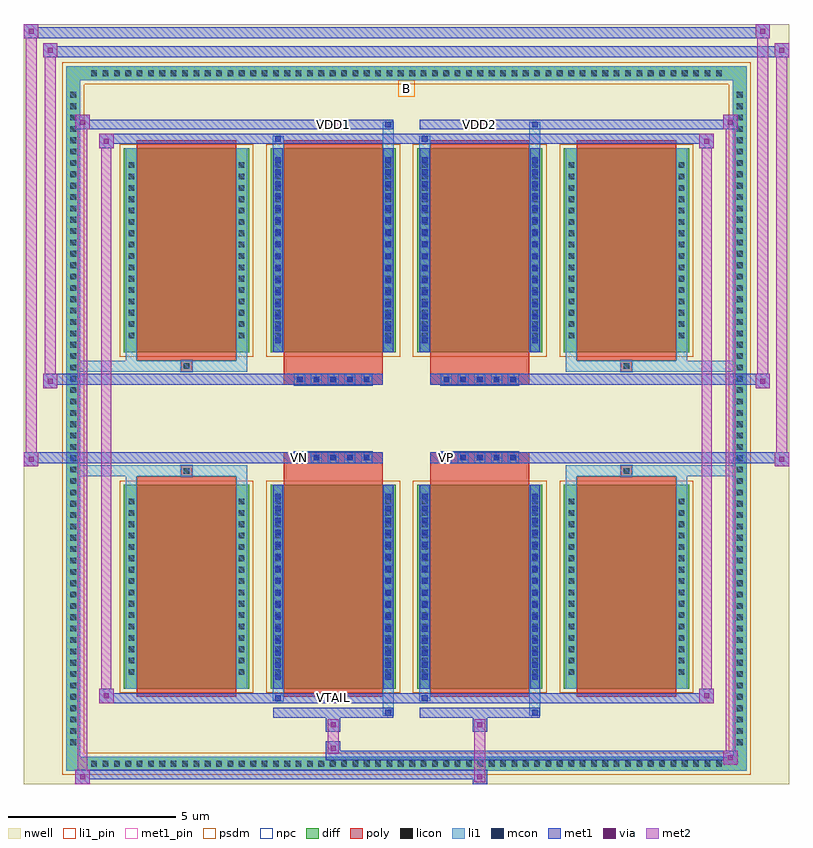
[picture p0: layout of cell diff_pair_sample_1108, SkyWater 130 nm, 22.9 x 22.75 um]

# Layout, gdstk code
import gdstk
lib = gdstk.Library(unit=1e-6, precision=5e-09)
def R(c, l, rs):  # rectangles x0, y0, x1, y1
    for r in rs: c.add(gdstk.rectangle(r[:2], r[2:], *l))
def A(c, l, x, y, w, h, nx, ny, dx, dy):  # array of equal rectangles
    R(c, l, [(x+i*dx, y+j*dy, x+i*dx+w, y+j*dy+h) for i in range(nx) for j in range(ny)])
def P(c, l, *ps):  # polygons
    for p in ps: c.add(gdstk.Polygon(p, *l))
nwell = (64, 20)
diff = (65, 20)
poly = (66, 20)
licon = (66, 44)
li1_pin = (67, 16)
li1 = (67, 20)
mcon = (67, 44)
met1_pin = (68, 16)
met1 = (68, 20)
via = (68, 44)
met2 = (69, 20)
psdm = (94, 20)
npc = (95, 20)

diff_pair_sample_1108 = lib.new_cell('diff_pair_sample_1108')
R(diff_pair_sample_1108, nwell, [(-11.45,-10.94,11.45,11.81), (-8.77,-9.13,-0.01,-0.805), (0.01,-9.13,8.77,-0.805), (-8.77,0.805,-0.01,9.13), (0.01,0.805,8.77,9.13)])
A(diff_pair_sample_1108, diff, -9.555, -10.54, 0.41, 0.41, 56, 2, 0.34, 20.67)
A(diff_pair_sample_1108, diff, -10.18, -9.895, 0.41, 0.41, 1, 58, 0, 0.34)
A(diff_pair_sample_1108, diff, 9.77, -9.895, 0.41, 0.41, 1, 58, 0, 0.34)
A(diff_pair_sample_1108, diff, -8.46, -8.085, 3.75, 6.1, 4, 2, 4.39, 10.07)
R(diff_pair_sample_1108, diff, [(-9.555,-10.54,9.555,-10.13), (-10.18,-9.895,-9.77,9.895), (9.77,-9.895,10.18,9.895), (-9.555,10.13,9.555,10.54)])
P(diff_pair_sample_1108, diff, [(10.18,10.54),(-10.18,10.54),(-10.18,-10.13),(-9.77,-10.13),(-9.77,10.13),(9.77,10.13),(9.77,-10.13),(-9.77,-10.13),(-10.18,-10.13),(-10.18,-10.54),(10.18,-10.54)])
A(diff_pair_sample_1108, poly, -8.07, -8.335, 2.97, 6.6, 4, 2, 4.39, 10.07)
A(diff_pair_sample_1108, poly, -3.36, -1.335, 0.33, 0.33, 5, 2, 0.5, 2.34)
A(diff_pair_sample_1108, poly, 1.03, -1.335, 0.33, 0.33, 5, 2, 0.5, 2.34)
R(diff_pair_sample_1108, poly, [(-6.75,-1.735,-6.42,-1.405), (-6.75,-1.735,-6.42,-1.405), (-3.68,-1.735,-0.71,-1.335), (0.71,-1.735,3.68,-1.335), (6.42,-1.735,6.75,-1.405), (6.42,-1.735,6.75,-1.405), (-3.68,-1.335,-0.71,-1.005), (0.71,-1.335,3.68,-1.005), (-3.68,1.005,-0.71,1.335), (0.71,1.005,3.68,1.335), (-3.68,1.335,-0.71,1.735), (0.71,1.335,3.68,1.735), (-6.75,1.405,-6.42,1.735), (-6.75,1.405,-6.42,1.735), (6.42,1.405,6.75,1.735), (6.42,1.405,6.75,1.735)])
A(diff_pair_sample_1108, licon, -9.435, -10.42, 0.17, 0.17, 56, 2, 0.34, 20.67)
A(diff_pair_sample_1108, licon, -10.06, -9.775, 0.17, 0.17, 1, 58, 0, 0.34)
A(diff_pair_sample_1108, licon, 9.89, -9.775, 0.17, 0.17, 1, 58, 0, 0.34)
A(diff_pair_sample_1108, licon, -8.32, -7.67, 0.17, 0.17, 1, 16, 0, 0.34)
A(diff_pair_sample_1108, licon, -5.02, -7.67, 0.17, 0.17, 1, 16, 0, 0.34)
A(diff_pair_sample_1108, licon, -3.93, -7.67, 0.17, 0.17, 1, 16, 0, 0.34)
A(diff_pair_sample_1108, licon, -0.63, -7.67, 0.17, 0.17, 1, 16, 0, 0.34)
A(diff_pair_sample_1108, licon, 0.46, -7.67, 0.17, 0.17, 1, 16, 0, 0.34)
A(diff_pair_sample_1108, licon, 3.76, -7.67, 0.17, 0.17, 1, 16, 0, 0.34)
A(diff_pair_sample_1108, licon, 4.85, -7.67, 0.17, 0.17, 1, 16, 0, 0.34)
A(diff_pair_sample_1108, licon, 8.15, -7.67, 0.17, 0.17, 1, 16, 0, 0.34)
A(diff_pair_sample_1108, licon, -3.28, -1.255, 0.17, 0.17, 5, 2, 0.5, 2.34)
A(diff_pair_sample_1108, licon, 1.11, -1.255, 0.17, 0.17, 5, 2, 0.5, 2.34)
A(diff_pair_sample_1108, licon, -8.32, 2.4, 0.17, 0.17, 1, 16, 0, 0.34)
A(diff_pair_sample_1108, licon, -5.02, 2.4, 0.17, 0.17, 1, 16, 0, 0.34)
A(diff_pair_sample_1108, licon, -3.93, 2.4, 0.17, 0.17, 1, 16, 0, 0.34)
A(diff_pair_sample_1108, licon, -0.63, 2.4, 0.17, 0.17, 1, 16, 0, 0.34)
A(diff_pair_sample_1108, licon, 0.46, 2.4, 0.17, 0.17, 1, 16, 0, 0.34)
A(diff_pair_sample_1108, licon, 3.76, 2.4, 0.17, 0.17, 1, 16, 0, 0.34)
A(diff_pair_sample_1108, licon, 4.85, 2.4, 0.17, 0.17, 1, 16, 0, 0.34)
A(diff_pair_sample_1108, licon, 8.15, 2.4, 0.17, 0.17, 1, 16, 0, 0.34)
R(diff_pair_sample_1108, licon, [(-6.67,-1.655,-6.5,-1.485), (6.5,-1.655,6.67,-1.485), (-6.67,1.485,-6.5,1.655), (6.5,1.485,6.67,1.655)])
R(diff_pair_sample_1108, li1_pin, [(-0.25,9.63,0.25,10.13)])
A(diff_pair_sample_1108, li1, -9.515, -10.5, 0.33, 0.33, 56, 2, 0.34, 20.67)
A(diff_pair_sample_1108, li1, -10.14, -9.855, 0.33, 0.33, 1, 58, 0, 0.34)
A(diff_pair_sample_1108, li1, 9.81, -9.855, 0.33, 0.33, 1, 58, 0, 0.34)
A(diff_pair_sample_1108, li1, -3.93, -7.82, 0.17, 0.17, 1, 16, 0, 0.36)
A(diff_pair_sample_1108, li1, -0.63, -7.82, 0.17, 0.17, 1, 16, 0, 0.36)
A(diff_pair_sample_1108, li1, 0.46, -7.82, 0.17, 0.17, 1, 16, 0, 0.36)
A(diff_pair_sample_1108, li1, 3.76, -7.82, 0.17, 0.17, 1, 16, 0, 0.36)
A(diff_pair_sample_1108, li1, -8.4, -7.75, 0.33, 0.33, 1, 16, 0, 0.34)
A(diff_pair_sample_1108, li1, -5.1, -7.75, 0.33, 0.33, 1, 16, 0, 0.34)
A(diff_pair_sample_1108, li1, -4.01, -7.75, 0.33, 0.33, 1, 16, 0, 0.34)
A(diff_pair_sample_1108, li1, -0.71, -7.75, 0.33, 0.33, 1, 16, 0, 0.34)
A(diff_pair_sample_1108, li1, 0.38, -7.75, 0.33, 0.33, 1, 16, 0, 0.34)
A(diff_pair_sample_1108, li1, 3.68, -7.75, 0.33, 0.33, 1, 16, 0, 0.34)
A(diff_pair_sample_1108, li1, 4.77, -7.75, 0.33, 0.33, 1, 16, 0, 0.34)
A(diff_pair_sample_1108, li1, 8.07, -7.75, 0.33, 0.33, 1, 16, 0, 0.34)
A(diff_pair_sample_1108, li1, -3.36, -1.335, 0.33, 0.33, 5, 2, 0.5, 2.34)
A(diff_pair_sample_1108, li1, 1.03, -1.335, 0.33, 0.33, 5, 2, 0.5, 2.34)
A(diff_pair_sample_1108, li1, -3.93, 2.25, 0.17, 0.17, 1, 16, 0, 0.36)
A(diff_pair_sample_1108, li1, -0.63, 2.25, 0.17, 0.17, 1, 16, 0, 0.36)
A(diff_pair_sample_1108, li1, 0.46, 2.25, 0.17, 0.17, 1, 16, 0, 0.36)
A(diff_pair_sample_1108, li1, 3.76, 2.25, 0.17, 0.17, 1, 16, 0, 0.36)
A(diff_pair_sample_1108, li1, -8.4, 2.32, 0.33, 0.33, 1, 16, 0, 0.34)
A(diff_pair_sample_1108, li1, -5.1, 2.32, 0.33, 0.33, 1, 16, 0, 0.34)
A(diff_pair_sample_1108, li1, -4.01, 2.32, 0.33, 0.33, 1, 16, 0, 0.34)
A(diff_pair_sample_1108, li1, -0.71, 2.32, 0.33, 0.33, 1, 16, 0, 0.34)
A(diff_pair_sample_1108, li1, 0.38, 2.32, 0.33, 0.33, 1, 16, 0, 0.34)
A(diff_pair_sample_1108, li1, 3.68, 2.32, 0.33, 0.33, 1, 16, 0, 0.34)
A(diff_pair_sample_1108, li1, 4.77, 2.32, 0.33, 0.33, 1, 16, 0, 0.34)
A(diff_pair_sample_1108, li1, 8.07, 2.32, 0.33, 0.33, 1, 16, 0, 0.34)
R(diff_pair_sample_1108, li1, [(-10.18,-10.54,-9.77,-10.13), (-10.18,-10.54,-9.77,-10.13), (-9.77,-10.54,9.77,-10.13), (9.77,-10.54,10.18,-10.13), (9.77,-10.54,10.18,-10.13), (-10.18,-10.13,-9.77,10.13), (9.77,-10.13,10.18,10.13), (-0.71,-8.89,-0.38,-8.085), (-0.63,-8.89,-0.46,-8.72), (3.68,-8.89,4.01,-8.085), (3.76,-8.89,3.93,-8.72), (-4.01,-8.46,-3.68,-8.085), (-3.93,-8.46,-3.76,-8.29), (0.38,-8.46,0.71,-8.085), (0.46,-8.46,0.63,-8.29), (-8.4,-8.085,-8.07,-1.985), (-5.1,-8.085,-4.77,-1.985), (-4.01,-8.085,-3.68,-1.985), (-0.71,-8.085,-0.38,-1.985), (0.38,-8.085,0.71,-1.985), (3.68,-8.085,4.01,-1.985), (4.77,-8.085,5.1,-1.985), (8.07,-8.085,8.4,-1.985), (-3.93,-7.82,-3.76,-2.25), (-0.63,-7.82,-0.46,-2.25), (0.46,-7.82,0.63,-2.25), (3.76,-7.82,3.93,-2.25), (-8.4,-1.985,-8.07,-1.405), (-5.1,-1.985,-4.77,-1.405), (4.77,-1.985,5.1,-1.405), (8.07,-1.985,8.4,-1.405), (-10.18,-1.735,-6.75,-1.405), (-8.4,-1.735,-6.75,-1.405), (-6.75,-1.735,-6.42,-1.405), (-6.42,-1.735,-4.77,-1.405), (4.77,-1.735,6.42,-1.405), (6.42,-1.735,6.75,-1.405), (6.42,-1.735,10.18,-1.405), (6.75,-1.735,8.4,-1.405), (-10.18,1.405,-6.75,1.735), (-8.4,1.405,-6.75,1.735), (-8.4,1.405,-8.07,1.985), (-6.75,1.405,-6.42,1.735), (-6.42,1.405,-4.77,1.735), (-5.1,1.405,-4.77,1.985), (4.77,1.405,6.42,1.735), (4.77,1.405,5.1,1.985), (6.42,1.405,6.75,1.735), (6.42,1.405,10.18,1.735), (6.75,1.405,8.4,1.735), (8.07,1.405,8.4,1.985), (-8.4,1.985,-8.07,8.085), (-5.1,1.985,-4.77,8.085), (-4.01,1.985,-3.68,8.085), (-0.71,1.985,-0.38,8.085), (0.38,1.985,0.71,8.085), (3.68,1.985,4.01,8.085), (4.77,1.985,5.1,8.085), (8.07,1.985,8.4,8.085), (-3.93,2.25,-3.76,7.82), (-0.63,2.25,-0.46,7.82), (0.46,2.25,0.63,7.82), (3.76,2.25,3.93,7.82), (-4.01,8.085,-3.68,8.46), (-0.71,8.085,-0.38,8.89), (0.38,8.085,0.71,8.46), (3.68,8.085,4.01,8.89), (-3.93,8.29,-3.76,8.46), (0.46,8.29,0.63,8.46), (-0.63,8.72,-0.46,8.89), (3.76,8.72,3.93,8.89), (-10.18,10.13,-9.77,10.54), (-10.18,10.13,-9.77,10.54), (-9.77,10.13,9.77,10.54), (9.77,10.13,10.18,10.54), (9.77,10.13,10.18,10.54)])
A(diff_pair_sample_1108, mcon, -3.93, -7.82, 0.17, 0.17, 1, 16, 0, 0.36)
A(diff_pair_sample_1108, mcon, -0.63, -7.82, 0.17, 0.17, 1, 16, 0, 0.36)
A(diff_pair_sample_1108, mcon, 0.46, -7.82, 0.17, 0.17, 1, 16, 0, 0.36)
A(diff_pair_sample_1108, mcon, 3.76, -7.82, 0.17, 0.17, 1, 16, 0, 0.36)
A(diff_pair_sample_1108, mcon, -3.28, -1.255, 0.17, 0.17, 5, 2, 0.5, 2.34)
A(diff_pair_sample_1108, mcon, 1.11, -1.255, 0.17, 0.17, 5, 2, 0.5, 2.34)
A(diff_pair_sample_1108, mcon, -3.93, 2.25, 0.17, 0.17, 1, 16, 0, 0.36)
A(diff_pair_sample_1108, mcon, -0.63, 2.25, 0.17, 0.17, 1, 16, 0, 0.36)
A(diff_pair_sample_1108, mcon, 0.46, 2.25, 0.17, 0.17, 1, 16, 0, 0.36)
A(diff_pair_sample_1108, mcon, 3.76, 2.25, 0.17, 0.17, 1, 16, 0, 0.36)
R(diff_pair_sample_1108, mcon, [(-0.63,-8.89,-0.46,-8.72), (3.76,-8.89,3.93,-8.72), (-3.93,-8.46,-3.76,-8.29), (0.46,-8.46,0.63,-8.29), (-3.93,8.29,-3.76,8.46), (0.46,8.29,0.63,8.46), (-0.63,8.72,-0.46,8.89), (3.76,8.72,3.93,8.89)])
R(diff_pair_sample_1108, met1_pin, [(-2.33,-8.5,-2.06,-8.23), (-3.33,-1.295,-3.06,-1.025), (1.06,-1.295,1.33,-1.025), (-2.33,8.68,-2.06,8.95), (2.06,8.68,2.33,8.95)])
A(diff_pair_sample_1108, met1, -3.99, -7.88, 0.29, 0.29, 1, 16, 0, 0.36)
A(diff_pair_sample_1108, met1, -0.69, -7.88, 0.29, 0.29, 1, 16, 0, 0.36)
A(diff_pair_sample_1108, met1, 0.4, -7.88, 0.29, 0.29, 1, 16, 0, 0.36)
A(diff_pair_sample_1108, met1, 3.7, -7.88, 0.29, 0.29, 1, 16, 0, 0.36)
A(diff_pair_sample_1108, met1, -3.34, -1.315, 0.29, 0.29, 5, 2, 0.5, 2.34)
A(diff_pair_sample_1108, met1, 1.05, -1.315, 0.29, 0.29, 5, 2, 0.5, 2.34)
A(diff_pair_sample_1108, met1, -3.99, 2.19, 0.29, 0.29, 1, 16, 0, 0.36)
A(diff_pair_sample_1108, met1, -0.69, 2.19, 0.29, 0.29, 1, 16, 0, 0.36)
A(diff_pair_sample_1108, met1, 0.4, 2.19, 0.29, 0.29, 1, 16, 0, 0.36)
A(diff_pair_sample_1108, met1, 3.7, 2.19, 0.29, 0.29, 1, 16, 0, 0.36)
R(diff_pair_sample_1108, met1, [(-9.91,-10.94,-9.48,-10.51), (1.98,-10.94,2.41,-10.51), (-9.91,-10.8,2.41,-10.51), (9.48,-10.37,9.91,-9.94), (-2.41,-10.23,9.91,-9.94), (-2.41,-10.09,-1.98,-9.66), (-2.41,-9.38,-1.98,-8.95), (1.98,-9.38,2.41,-8.95), (-3.99,-8.95,-0.4,-8.66), (-0.69,-8.95,-0.4,-8.66), (0.4,-8.95,3.99,-8.66), (3.7,-8.95,3.99,-8.66), (-9.2,-8.52,-8.77,-8.09), (-9.2,-8.52,-3.99,-8.23), (-3.99,-8.52,-3.7,-8.23), (-3.99,-8.52,-0.4,-8.23), (-0.4,-8.52,0.4,-8.23), (0.4,-8.52,0.69,-8.23), (0.4,-8.52,3.99,-8.23), (3.99,-8.52,9.2,-8.23), (8.77,-8.52,9.2,-8.09), (-3.99,-8.085,-3.7,-1.985), (-0.69,-8.085,-0.4,-1.985), (0.4,-8.085,0.69,-1.985), (3.7,-8.085,3.99,-1.985), (-11.45,-1.435,-11.02,-1.005), (11.02,-1.435,11.45,-1.005), (-11.45,-1.335,-0.71,-1.005), (-3.68,-1.335,-0.71,-1.005), (0.71,-1.335,3.68,-1.005), (0.71,-1.335,11.45,-1.005), (-10.88,0.905,-10.45,1.335), (10.45,0.905,10.88,1.335), (-10.88,1.005,-3.68,1.335), (-3.68,1.005,-0.71,1.335), (0.71,1.005,3.68,1.335), (3.68,1.005,10.88,1.335), (-3.99,1.985,-3.7,8.085), (-0.69,1.985,-0.4,8.085), (0.4,1.985,0.69,8.085), (3.7,1.985,3.99,8.085), (-9.2,8.09,-8.77,8.52), (8.77,8.09,9.2,8.52), (-9.2,8.23,-3.99,8.52), (-3.99,8.23,-3.7,8.52), (-3.99,8.23,-0.4,8.52), (-0.4,8.23,0.4,8.52), (0.4,8.23,0.69,8.52), (0.4,8.23,3.99,8.52), (3.99,8.23,9.2,8.52), (-9.91,8.66,-9.48,9.09), (-9.91,8.66,-3.99,8.95), (-3.99,8.66,-0.4,8.95), (-0.69,8.66,-0.4,8.95), (0.4,8.66,3.99,8.95), (3.7,8.66,3.99,8.95), (3.99,8.66,9.91,8.95), (9.48,8.66,9.91,9.09), (-10.88,10.81,-10.45,11.24), (-10.88,10.81,-8.77,11.14), (-8.77,10.81,8.77,11.14), (8.77,10.81,11.45,11.14), (11.02,10.81,11.45,11.24), (-11.45,11.38,-11.02,11.81), (-11.45,11.38,-8.77,11.71), (-8.77,11.38,8.77,11.71), (8.77,11.38,10.88,11.71), (10.45,11.38,10.88,11.81)])
R(diff_pair_sample_1108, via, [(-9.77,-10.8,-9.62,-10.65), (2.12,-10.8,2.27,-10.65), (9.62,-10.23,9.77,-10.08), (-2.27,-9.95,-2.12,-9.8), (-2.27,-9.24,-2.12,-9.09), (2.12,-9.24,2.27,-9.09), (-9.06,-8.38,-8.91,-8.23), (8.91,-8.38,9.06,-8.23), (-11.31,-1.295,-11.16,-1.145), (11.16,-1.295,11.31,-1.145), (-10.74,1.045,-10.59,1.195), (10.59,1.045,10.74,1.195), (-9.06,8.23,-8.91,8.38), (8.91,8.23,9.06,8.38), (-9.77,8.8,-9.62,8.95), (9.62,8.8,9.77,8.95), (-10.74,10.95,-10.59,11.1), (11.16,10.95,11.31,11.1), (-11.31,11.52,-11.16,11.67), (10.59,11.52,10.74,11.67)])
R(diff_pair_sample_1108, met2, [(-9.91,-10.94,-9.48,-10.51), (-9.84,-10.94,-9.55,9.09), (-9.55,-10.94,-9.48,-10.51), (-9.86,-10.89,-9.53,-10.56), (2.03,-10.89,2.36,-10.56), (2.03,-10.56,2.36,-9.33), (9.48,-10.37,9.91,-9.94), (9.55,-10.37,9.84,9.09), (9.84,-10.37,9.91,-9.94), (9.53,-10.32,9.86,-9.99), (-2.36,-10.04,-2.03,-9.71), (-2.36,-9.71,-2.03,-9.33), (-2.36,-9.33,-2.03,-9), (2.03,-9.33,2.36,-9), (-9.2,-8.52,-8.77,-8.09), (-9.13,-8.52,-8.84,8.52), (-8.84,-8.52,-8.77,-8.09), (8.77,-8.52,9.2,-8.09), (8.84,-8.52,9.13,8.52), (9.13,-8.52,9.2,-8.09), (-9.15,-8.47,-8.82,-8.14), (8.82,-8.47,9.15,-8.14), (-11.45,-1.435,-11.02,-1.005), (-11.4,-1.435,-11.07,11.81), (-11.07,-1.435,-11.02,-1.005), (11.02,-1.435,11.45,-1.005), (11.07,-1.435,11.4,11.24), (11.4,-1.435,11.45,-1.005), (-11.4,-1.385,-11.07,-1.055), (11.07,-1.385,11.4,-1.055), (-10.88,0.905,-10.45,1.335), (-10.83,0.905,-10.5,11.24), (-10.5,0.905,-10.45,1.335), (10.45,0.905,10.88,1.335), (10.5,0.905,10.83,11.81), (10.83,0.905,10.88,1.335), (-10.83,0.955,-10.5,1.285), (10.5,0.955,10.83,1.285), (-9.2,8.09,-8.77,8.52), (-8.84,8.09,-8.77,8.52), (8.77,8.09,9.2,8.52), (9.13,8.09,9.2,8.52), (-9.15,8.14,-8.82,8.47), (8.82,8.14,9.15,8.47), (-9.91,8.66,-9.48,9.09), (-9.55,8.66,-9.48,9.09), (9.48,8.66,9.91,9.09), (9.84,8.66,9.91,9.09), (-9.86,8.71,-9.53,9.04), (9.53,8.71,9.86,9.04), (-10.88,10.81,-10.45,11.24), (-10.5,10.81,-10.45,11.24), (11.02,10.81,11.45,11.24), (11.4,10.81,11.45,11.24), (-10.83,10.86,-10.5,11.19), (11.07,10.86,11.4,11.19), (-11.45,11.38,-11.02,11.81), (-11.07,11.38,-11.02,11.81), (10.45,11.38,10.88,11.81), (10.83,11.38,10.88,11.81), (-11.4,11.43,-11.07,11.76), (10.5,11.43,10.83,11.76)])
A(diff_pair_sample_1108, psdm, -8.59, -8.215, 4.01, 6.36, 4, 2, 4.39, 10.07)
P(diff_pair_sample_1108, psdm, [(10.31,10.67),(-10.31,10.67),(-10.31,-10),(-9.64,-10),(-9.64,10),(9.64,10),(9.64,-10),(-9.64,-10),(-10.31,-10),(-10.31,-10.67),(10.31,-10.67)])
A(diff_pair_sample_1108, npc, -3.38, -1.355, 0.37, 0.37, 5, 2, 0.5, 2.34)
A(diff_pair_sample_1108, npc, 1.01, -1.355, 0.37, 0.37, 5, 2, 0.5, 2.34)
R(diff_pair_sample_1108, npc, [(-6.77,-1.755,-6.4,-1.385), (6.4,-1.755,6.77,-1.385), (-3.38,-1.355,-2.51,-0.985), (-3.38,-1.355,-2.51,-0.985), (-2.88,-1.355,-2.01,-0.985), (-2.88,-1.355,-2.01,-0.985), (-2.38,-1.355,-1.51,-0.985), (-2.38,-1.355,-1.51,-0.985), (-1.88,-1.355,-1.01,-0.985), (-1.88,-1.355,-1.01,-0.985), (1.01,-1.355,1.88,-0.985), (1.01,-1.355,1.88,-0.985), (1.51,-1.355,2.38,-0.985), (1.51,-1.355,2.38,-0.985), (2.01,-1.355,2.88,-0.985), (2.01,-1.355,2.88,-0.985), (2.51,-1.355,3.38,-0.985), (2.51,-1.355,3.38,-0.985), (-3.38,0.985,-2.51,1.355), (-3.38,0.985,-2.51,1.355), (-2.88,0.985,-2.01,1.355), (-2.88,0.985,-2.01,1.355), (-2.38,0.985,-1.51,1.355), (-2.38,0.985,-1.51,1.355), (-1.88,0.985,-1.01,1.355), (-1.88,0.985,-1.01,1.355), (1.01,0.985,1.88,1.355), (1.01,0.985,1.88,1.355), (1.51,0.985,2.38,1.355), (1.51,0.985,2.38,1.355), (2.01,0.985,2.88,1.355), (2.01,0.985,2.88,1.355), (2.51,0.985,3.38,1.355), (2.51,0.985,3.38,1.355), (-6.77,1.385,-6.4,1.755), (6.4,1.385,6.77,1.755)])
diff_pair_sample_1108.add(gdstk.Label('VTAIL', (-2.195,-8.365), layer=68, texttype=5))
diff_pair_sample_1108.add(gdstk.Label('VN', (-3.195,-1.16), layer=68, texttype=5))
diff_pair_sample_1108.add(gdstk.Label('VP', (1.195,-1.16), layer=68, texttype=5))
diff_pair_sample_1108.add(gdstk.Label('B', (0,9.88), layer=67, texttype=5))
diff_pair_sample_1108.add(gdstk.Label('VDD2', (2.195,8.815), layer=68, texttype=5))
diff_pair_sample_1108.add(gdstk.Label('VDD1', (-2.195,8.815), layer=68, texttype=5))

lib.write_gds('diff_pair_sample_1108.gds')
